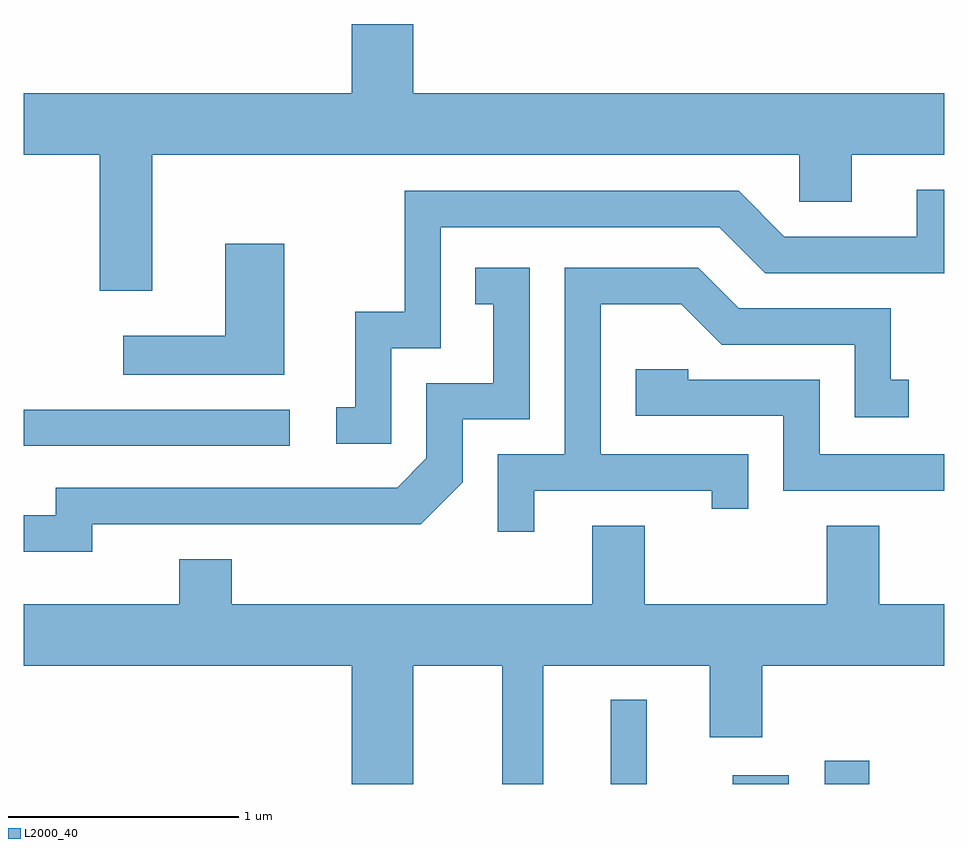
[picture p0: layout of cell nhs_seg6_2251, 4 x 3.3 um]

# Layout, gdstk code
import gdstk
lib = gdstk.Library(unit=1e-6, precision=1e-09)
def R(c, l, rs):  # rectangles x0, y0, x1, y1
    for r in rs: c.add(gdstk.rectangle(r[:2], r[2:], *l))
def P(c, l, *ps):  # polygons
    for p in ps: c.add(gdstk.Polygon(p, *l))
L2000_40 = (2000, 40)

nhs_seg6_2251 = lib.new_cell('nhs_seg6_2251')
R(nhs_seg6_2251, L2000_40, [(256.161,1576.162,256.319,1576.528), (256.691,1576.162,256.934,1576.199), (257.091,1576.162,257.284,1576.264), (253.611,1577.631,254.768,1577.789)])
P(nhs_seg6_2251, L2000_40, [(254.169,1578.896),(256.981,1578.896),(256.981,1578.691),(257.209,1578.691),(257.209,1578.896),(257.611,1578.896),(257.611,1579.164),(255.304,1579.164),(255.304,1579.464),(255.036,1579.464),(255.036,1579.164),(253.611,1579.164),(253.611,1578.896),(253.941,1578.896),(253.941,1578.306),(254.169,1578.306)],
  [(255.209,1578.056),(255.424,1578.056),(255.424,1578.581),(256.634,1578.581),(256.834,1578.381),(257.611,1578.381),(257.611,1578.744),(257.491,1578.744),(257.491,1578.539),(256.916,1578.539),(256.717,1578.739),(255.266,1578.739),(255.266,1578.214),(255.051,1578.214),(255.051,1577.799),(254.968,1577.799),(254.968,1577.641),(255.209,1577.641)],
  [(254.744,1578.509),(254.486,1578.509),(254.486,1578.109),(254.043,1578.109),(254.043,1577.941),(254.744,1577.941)],
  [(255.829,1577.436),(256.601,1577.436),(256.601,1577.358),(256.759,1577.358),(256.759,1577.594),(256.119,1577.594),(256.119,1578.246),(256.469,1578.246),(256.644,1578.071),(257.221,1578.071),(257.221,1577.756),(257.457,1577.756),(257.457,1577.919),(257.379,1577.919),(257.379,1578.229),(256.717,1578.229),(256.541,1578.404),(255.961,1578.404),(255.961,1577.594),(255.671,1577.594),(255.671,1577.258),(255.829,1577.258)],
  [(253.909,1577.291),(255.337,1577.291),(255.519,1577.474),(255.519,1577.746),(255.809,1577.746),(255.809,1578.404),(255.573,1578.404),(255.573,1578.246),(255.651,1578.246),(255.651,1577.904),(255.361,1577.904),(255.361,1577.577),(255.234,1577.449),(253.751,1577.449),(253.751,1577.329),(253.611,1577.329),(253.611,1577.171),(253.909,1577.171)],
  [(257.611,1577.594),(257.069,1577.594),(257.069,1577.919),(256.499,1577.919),(256.499,1577.964),(256.271,1577.964),(256.271,1577.761),(256.911,1577.761),(256.911,1577.436),(257.611,1577.436)],
  [(255.304,1576.676),(255.691,1576.676),(255.691,1576.162),(255.869,1576.162),(255.869,1576.676),(256.591,1576.676),(256.591,1576.366),(256.819,1576.366),(256.819,1576.676),(257.611,1576.676),(257.611,1576.944),(257.329,1576.944),(257.329,1577.284),(257.101,1577.284),(257.101,1576.944),(256.309,1576.944),(256.309,1577.284),(256.081,1577.284),(256.081,1576.944),(254.514,1576.944),(254.514,1577.139),(254.286,1577.139),(254.286,1576.944),(253.611,1576.944),(253.611,1576.676),(255.036,1576.676),(255.036,1576.162),(255.304,1576.162)])

lib.write_gds('nhs_seg6_2251.gds')
